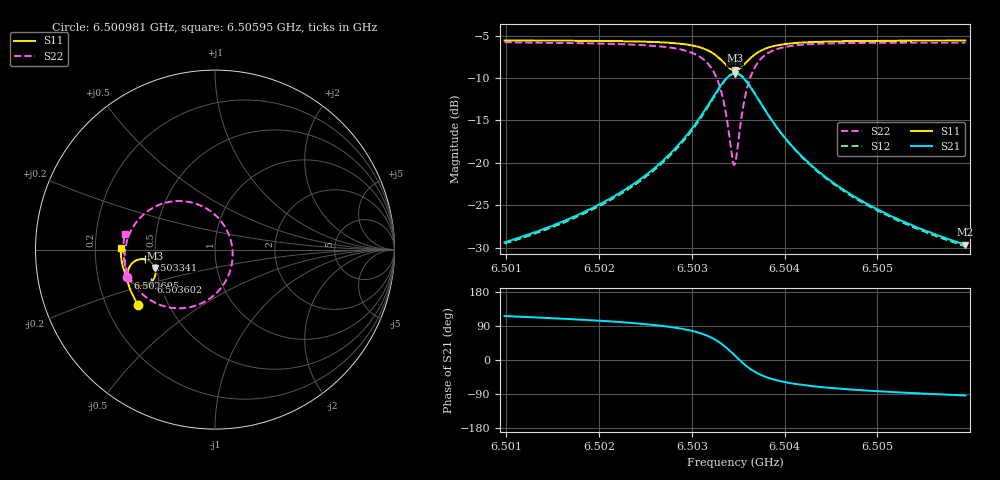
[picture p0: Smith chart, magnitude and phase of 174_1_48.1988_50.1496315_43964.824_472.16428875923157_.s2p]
#  HZ  S  RI  R  50.00
! Rohde & Schwarz Vector Network Analyzer
! Rohde-Schwarz,ZNB20-2Port,1311601062101988,3.16
! Created: UTC 3/20/2024, 11:43:50 AM
! freq[Hz]  re:S11  im:S11  re:S21  im:S21  re:S12  im:S12  re:S22  im:S22
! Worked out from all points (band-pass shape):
!   401 points, 6.500981 GHz to 6.50595 GHz, reference 50 ohm
!   highest |S21| = -9.48 dB at 6.503465 GHz (marker M1); lowest = -29.7 dB at 6.50595 GHz (marker M2)
!   |S21| within 3 dB of the highest: 6.503216 GHz to 6.503713 GHz (496.5 kHz wide, 0.00763 % of centre)
!   lowest |S11| = -9.1 dB at 6.503465 GHz (marker M3), VSWR 2.08, Z = 24.5 - j5.87 ohm
!   |S11| at or under -10 dB: nowhere
!   |S22| runs from -20.3 to -5.8 dB; largest |S21 - S12| = 0.012
!   S11 on the Smith chart (normalised r, x): 6.500981 GHz: 0.34, -0.29; 6.502695 GHz: 0.33, -0.14; 6.503341 GHz: 0.44, -0.06; 6.503602 GHz: 0.45, -0.19; 6.50595 GHz: 0.31, +0.01
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6.5009806e9  -0.4276 -0.3071  -0.0149 0.0305  -0.0131 0.0306  -0.4909 -0.151
6.5018129e9  -0.4632 -0.2453  -0.0142 0.0485  -0.0117 0.0481  -0.5034 -0.0619
6.5022601e9  -0.4788 -0.2055  -0.0113 0.0674  -0.00824 0.0663  -0.5002 0.00198
6.5026452e9  -0.4877 -0.1627  -0.00189 0.098  0.00174 0.0956  -0.4799 0.0796
6.5026949e9  -0.4882 -0.1563  0.000694 0.1036  0.00429 0.101  -0.4744 0.0925
6.5029309e9  -0.4851 -0.1194  0.0231 0.1403  0.0269 0.136  -0.4272 0.1663
6.5030924e9  -0.4707 -0.0873  0.062 0.1762  0.065 0.1703  -0.3512 0.2297
6.5032415e9  -0.4334 -0.0576  0.1431 0.2048  0.1439 0.1984  -0.2033 0.2707
6.5033409e9  -0.3873 -0.0547  0.234 0.1886  0.2342 0.1834  -0.0461 0.2281
6.5034278e9  -0.3449 -0.0833  0.3115 0.1143  0.3141 0.1098  0.0776 0.0821
6.5034527e9  -0.337 -0.0974  0.3248 0.0827  0.3279 0.0775  0.0944 0.0225
6.5034651e9  -0.3342 -0.1051  0.3292 0.0658  0.3325 0.0601  0.0979 -0.0086
6.5034899e9  -0.3312 -0.1212  0.3327 0.0316  0.3362 0.0245  0.0954 -0.0714
6.5035272e9  -0.3333 -0.145  0.3252 -0.0183  0.3283 -0.0272  0.0681 -0.1595
6.5036018e9  -0.3555 -0.1815  0.2788 -0.0938  0.2786 -0.1053  -0.0414 -0.281
6.5037136e9  -0.4008 -0.2012  0.1927 -0.1386  0.1873 -0.1483  -0.2157 -0.3267
6.503875e9  -0.4474 -0.1916  0.1097 -0.1349  0.1025 -0.14  -0.3652 -0.2785
6.504049e9  -0.4751 -0.1702  0.0646 -0.1143  0.0582 -0.1164  -0.4381 -0.2122
6.5042974e9  -0.496 -0.1403  0.0342 -0.0894  0.0294 -0.0898  -0.4817 -0.1391
6.5046949e9  -0.5123 -0.0987  0.0142 -0.0646  0.011 -0.064  -0.505 -0.0597
6.5051297e9  -0.5209 -0.0584  0.00517 -0.0487  0.00276 -0.0481  -0.5105 0.00197
6.5059496e9  -0.526 0.0112  -0.0021 -0.0327  -0.00334 -0.032  -0.5027 0.0896
